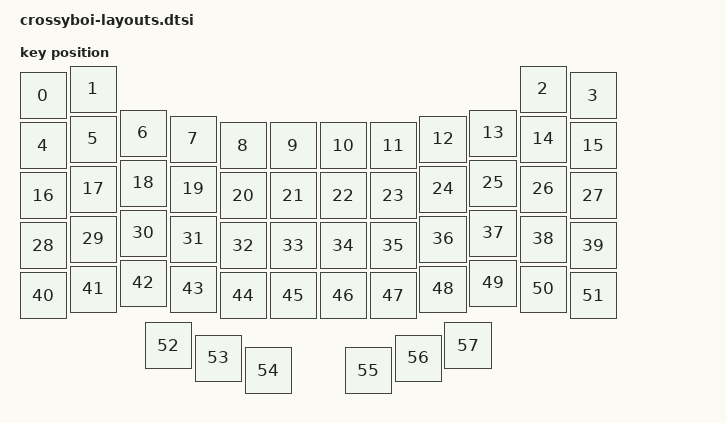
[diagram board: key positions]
#include <physical_layouts.dtsi>

/ {
    physical_layout0: physical_layout_0 {
        compatible = "zmk,physical-layout";
        display-name = "LAYOUT_default";

        kscan = <&kscan0>;
        transform = <&matrix_transform0>;


        keys  //                     w   h    x    y     rot    rx    ry
            = <&key_physical_attrs 100 100    0   125       0     0     0>
            , <&key_physical_attrs 100 100  100   112       0     0     0>
            , <&key_physical_attrs 100 100 1000   112       0     0     0>
            , <&key_physical_attrs 100 100 1100   125       0     0     0>
            , <&key_physical_attrs 100 100    0  225       0     0     0>
            , <&key_physical_attrs 100 100  100  212       0     0     0>
            , <&key_physical_attrs 100 100  200  200       0     0     0>
            , <&key_physical_attrs 100 100  300  212       0     0     0>
            , <&key_physical_attrs 100 100  400  225       0     0     0>
            , <&key_physical_attrs 100 100  500  225       0     0     0>
            , <&key_physical_attrs 100 100  600  225       0     0     0>
            , <&key_physical_attrs 100 100  700  225       0     0     0>
            , <&key_physical_attrs 100 100  800  212       0     0     0>
            , <&key_physical_attrs 100 100  900  200       0     0     0>
            , <&key_physical_attrs 100 100 1000  212       0     0     0>
            , <&key_physical_attrs 100 100 1100  225       0     0     0>
            , <&key_physical_attrs 100 100    0  325       0     0     0>
            , <&key_physical_attrs 100 100  100  312       0     0     0>
            , <&key_physical_attrs 100 100  200  300       0     0     0>
            , <&key_physical_attrs 100 100  300  312       0     0     0>
            , <&key_physical_attrs 100 100  400  325       0     0     0>
            , <&key_physical_attrs 100 100  500  325       0     0     0>
            , <&key_physical_attrs 100 100  600  325       0     0     0>
            , <&key_physical_attrs 100 100  700  325       0     0     0>
            , <&key_physical_attrs 100 100  800  312       0     0     0>
            , <&key_physical_attrs 100 100  900  300       0     0     0>
            , <&key_physical_attrs 100 100 1000  312       0     0     0>
            , <&key_physical_attrs 100 100 1100  325       0     0     0>
            , <&key_physical_attrs 100 100    0  425       0     0     0>
            , <&key_physical_attrs 100 100  100  412       0     0     0>
            , <&key_physical_attrs 100 100  200  400       0     0     0>
            , <&key_physical_attrs 100 100  300  412       0     0     0>
            , <&key_physical_attrs 100 100  400  425       0     0     0>
            , <&key_physical_attrs 100 100  500  425       0     0     0>
            , <&key_physical_attrs 100 100  600  425       0     0     0>
            , <&key_physical_attrs 100 100  700  425       0     0     0>
            , <&key_physical_attrs 100 100  800  412       0     0     0>
            , <&key_physical_attrs 100 100  900  400       0     0     0>
            , <&key_physical_attrs 100 100 1000  412       0     0     0>
            , <&key_physical_attrs 100 100 1100  425       0     0     0>
            , <&key_physical_attrs 100 100    0  525       0     0     0>
            , <&key_physical_attrs 100 100  100  512       0     0     0>
            , <&key_physical_attrs 100 100  200  500       0     0     0>
            , <&key_physical_attrs 100 100  300  512       0     0     0>
            , <&key_physical_attrs 100 100  400  525       0     0     0>
            , <&key_physical_attrs 100 100  500  525       0     0     0>
            , <&key_physical_attrs 100 100  600  525       0     0     0>
            , <&key_physical_attrs 100 100  700  525       0     0     0>
            , <&key_physical_attrs 100 100  800  512       0     0     0>
            , <&key_physical_attrs 100 100  900  500       0     0     0>
            , <&key_physical_attrs 100 100 1000  512       0     0     0>
            , <&key_physical_attrs 100 100 1100  525       0     0     0>
            , <&key_physical_attrs 100 100  250  625       0     0     0>
            , <&key_physical_attrs 100 100  350  650       0     0     0>
            , <&key_physical_attrs 100 100  450  675       0     0     0>
            , <&key_physical_attrs 100 100  650  675       0     0     0>
            , <&key_physical_attrs 100 100  750  650       0     0     0>
            , <&key_physical_attrs 100 100  850  625       0     0     0>
            ;
    };
};
